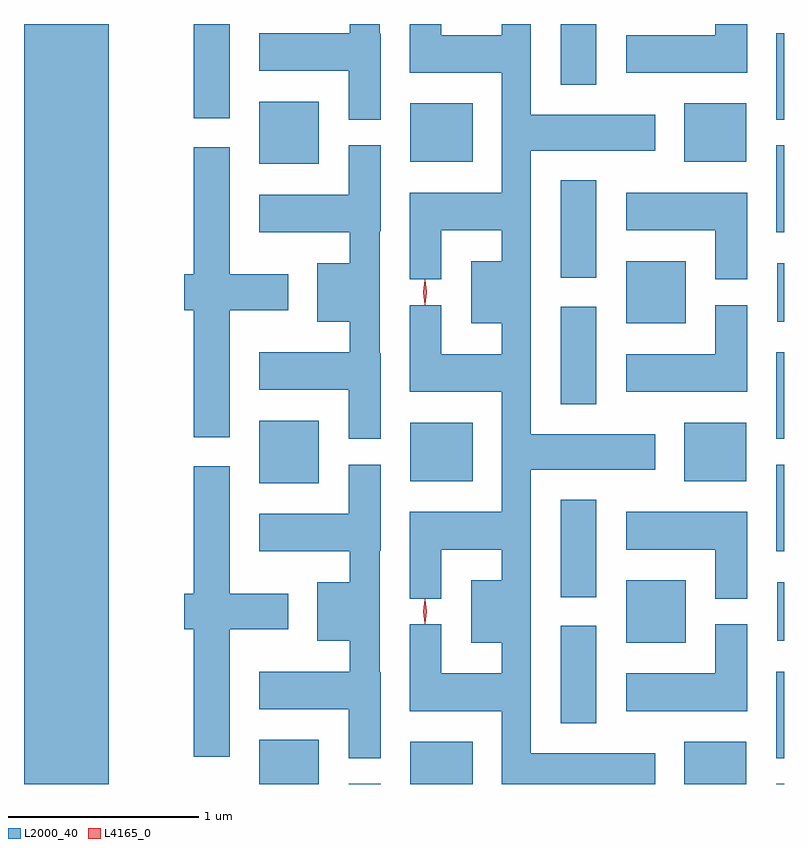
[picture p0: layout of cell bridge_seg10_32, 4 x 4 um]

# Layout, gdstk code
import gdstk
lib = gdstk.Library(unit=1e-6, precision=1e-09)
def R(c, l, rs):  # rectangles x0, y0, x1, y1
    for r in rs: c.add(gdstk.rectangle(r[:2], r[2:], *l))
def A(c, l, x, y, w, h, nx, ny, dx, dy):  # array of equal rectangles
    R(c, l, [(x+i*dx, y+j*dy, x+i*dx+w, y+j*dy+h) for i in range(nx) for j in range(ny)])
def P(c, l, *ps):  # polygons
    for p in ps: c.add(gdstk.Polygon(p, *l))
L2000_40 = (2000, 40)
L4165_0 = (4165, 0)

bridge_seg10_32 = lib.new_cell('bridge_seg10_32')
A(bridge_seg10_32, L2000_40, 1789.511, 2171.758, 0.041, 0.456, 1, 3, 0, 1.68)
R(bridge_seg10_32, L2000_40, [(1785.552,2171.622,1785.999,2175.622), (1786.791,2171.622,1787.104,2171.854), (1787.261,2171.622,1787.429,2171.623), (1787.586,2171.622,1787.914,2171.844), (1789.026,2171.622,1789.354,2171.844), (1789.511,2171.622,1789.552,2171.623), (1788.376,2171.941,1788.564,2172.454), (1788.721,2172.366,1789.034,2172.694), (1789.516,2172.376,1789.552,2172.684), (1788.376,2172.606,1788.564,2173.119), (1789.511,2172.846,1789.552,2173.303), (1786.791,2173.206,1787.104,2173.534), (1787.586,2173.216,1787.914,2173.524), (1789.026,2173.216,1789.354,2173.524), (1788.376,2173.621,1788.564,2174.134), (1788.721,2174.046,1789.034,2174.374), (1789.516,2174.056,1789.552,2174.364), (1788.376,2174.286,1788.564,2174.799), (1789.511,2174.526,1789.552,2174.983), (1786.791,2174.886,1787.104,2175.214), (1787.586,2174.896,1787.914,2175.204), (1789.026,2174.896,1789.354,2175.204), (1786.446,2175.126,1786.634,2175.622), (1788.376,2175.301,1788.564,2175.622)])
P(bridge_seg10_32, L2000_40, [(1788.874,2171.784),(1788.219,2171.784),(1788.219,2173.276),(1788.874,2173.276),(1788.874,2173.464),(1788.219,2173.464),(1788.219,2174.956),(1788.874,2174.956),(1788.874,2175.144),(1788.219,2175.144),(1788.219,2175.622),(1788.066,2175.622),(1788.066,2175.564),(1787.749,2175.564),(1787.749,2175.622),(1787.581,2175.622),(1787.581,2175.366),(1788.066,2175.366),(1788.066,2174.734),(1787.581,2174.734),(1787.581,2174.278),(1787.749,2174.278),(1787.749,2174.536),(1788.066,2174.536),(1788.066,2174.374),(1787.906,2174.374),(1787.906,2174.046),(1788.066,2174.046),(1788.066,2173.884),(1787.749,2173.884),(1787.749,2174.143),(1787.581,2174.143),(1787.581,2173.686),(1788.066,2173.686),(1788.066,2173.054),(1787.581,2173.054),(1787.581,2172.598),(1787.749,2172.598),(1787.749,2172.856),(1788.066,2172.856),(1788.066,2172.694),(1787.906,2172.694),(1787.906,2172.366),(1788.066,2172.366),(1788.066,2172.204),(1787.749,2172.204),(1787.749,2172.463),(1787.581,2172.463),(1787.581,2172.006),(1788.066,2172.006),(1788.066,2171.622),(1788.874,2171.622)],
  [(1787.429,2175.57),(1787.424,2175.57),(1787.424,2175.622),(1787.266,2175.622),(1787.266,2175.574),(1786.791,2175.574),(1786.791,2175.376),(1787.261,2175.376),(1787.261,2175.118),(1787.429,2175.118)],
  [(1789.359,2175.622),(1789.191,2175.622),(1789.191,2175.564),(1788.721,2175.564),(1788.721,2175.366),(1789.359,2175.366)],
  [(1787.429,2173.89),(1787.424,2173.89),(1787.424,2174.53),(1787.429,2174.53),(1787.429,2174.983),(1787.261,2174.983),(1787.261,2174.724),(1786.791,2174.724),(1786.791,2174.526),(1787.266,2174.526),(1787.266,2174.364),(1787.096,2174.364),(1787.096,2174.056),(1787.266,2174.056),(1787.266,2173.894),(1786.791,2173.894),(1786.791,2173.696),(1787.261,2173.696),(1787.261,2173.438),(1787.429,2173.438)],
  [(1786.634,2174.116),(1786.944,2174.116),(1786.944,2174.304),(1786.634,2174.304),(1786.634,2174.974),(1786.446,2174.974),(1786.446,2174.304),(1786.396,2174.304),(1786.396,2174.116),(1786.446,2174.116),(1786.446,2173.446),(1786.634,2173.446)],
  [(1789.359,2174.734),(1788.721,2174.734),(1788.721,2174.536),(1789.191,2174.536),(1789.191,2174.278),(1789.359,2174.278)],
  [(1789.359,2174.143),(1789.191,2174.143),(1789.191,2173.884),(1788.721,2173.884),(1788.721,2173.686),(1789.359,2173.686)],
  [(1787.429,2172.21),(1787.424,2172.21),(1787.424,2172.85),(1787.429,2172.85),(1787.429,2173.303),(1787.261,2173.303),(1787.261,2173.044),(1786.791,2173.044),(1786.791,2172.846),(1787.266,2172.846),(1787.266,2172.684),(1787.096,2172.684),(1787.096,2172.376),(1787.266,2172.376),(1787.266,2172.214),(1786.791,2172.214),(1786.791,2172.016),(1787.261,2172.016),(1787.261,2171.758),(1787.429,2171.758)],
  [(1786.634,2172.436),(1786.944,2172.436),(1786.944,2172.624),(1786.634,2172.624),(1786.634,2173.294),(1786.446,2173.294),(1786.446,2172.624),(1786.396,2172.624),(1786.396,2172.436),(1786.446,2172.436),(1786.446,2171.766),(1786.634,2171.766)],
  [(1789.359,2173.054),(1788.721,2173.054),(1788.721,2172.856),(1789.191,2172.856),(1789.191,2172.598),(1789.359,2172.598)],
  [(1789.359,2172.463),(1789.191,2172.463),(1789.191,2172.204),(1788.721,2172.204),(1788.721,2172.006),(1789.359,2172.006)])
P(bridge_seg10_32, L4165_0, [(1787.662,2172.464),(1787.662,2172.465),(1787.652,2172.53),(1787.662,2172.595),(1787.662,2172.596),(1787.663,2172.595),(1787.672,2172.53),(1787.663,2172.465)],
  [(1787.662,2174.144),(1787.662,2174.145),(1787.652,2174.21),(1787.662,2174.275),(1787.662,2174.276),(1787.663,2174.275),(1787.672,2174.21),(1787.663,2174.145)])

lib.write_gds('bridge_seg10_32.gds')
